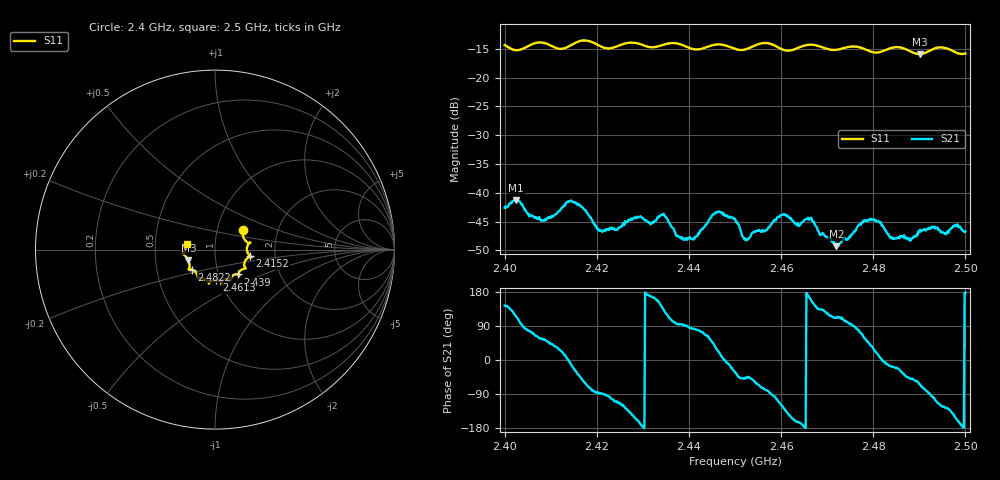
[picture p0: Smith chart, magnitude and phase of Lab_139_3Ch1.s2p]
# Hz S RI R 50
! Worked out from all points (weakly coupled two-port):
!   601 points, 2.4 GHz to 2.5 GHz, reference 50 ohm
!   highest |S21| = -41.24 dB at 2.4025 GHz (marker M1); lowest = -49.3 dB at 2.472 GHz (marker M2)
!   lowest |S11| = -15.9 dB at 2.4902 GHz (marker M3), VSWR 1.38, Z = 36.9 - j4.59 ohm
!   |S11| at or under -10 dB: start of sweep to end of sweep
!   S12 and S22 are empty: the file has one direction only
!   S11 on the Smith chart (normalised r, x): 2.4 GHz: 1.33, +0.31; 2.4152 GHz: 1.48, -0.11; 2.439 GHz: 1.24, -0.35; 2.4613 GHz: 0.96, -0.34; 2.4822 GHz: 0.76, -0.17; 2.5 GHz: 0.73, +0.05
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2.4e9  0.1561 0.1108  -0.00595 0.0044  0 0  0 0
2.4025e9  0.1582 0.0691  -0.00363 0.00788  0 0  0 0
2.408167e9  0.1973 0.0395  0.00323 0.00472  0 0  0 0
2.415167e9  0.1951 -0.0363  0.00754 -0.00352  0 0  0 0
2.416667e9  0.2046 -0.0423  0.00498 -0.00574  0 0  0 0
2.420833e9  0.1805 -0.0476  0.000177 -0.00471  0 0  0 0
2.433333e9  0.1321 -0.1319  -0.00549 0.00268  0 0  0 0
2.434833e9  0.1314 -0.1433  -0.00363 0.00504  0 0  0 0
2.439e9  0.1282 -0.1382  -5.44e-05 0.00399  0 0  0 0
2.441333e9  0.1055 -0.1403  0.000635 0.0041  0 0  0 0
2.446167e9  0.0859 -0.1737  0.00602 0.00302  0 0  0 0
2.45e9  0.0691 -0.1638  0.00506 -0.00315  0 0  0 0
2.4525e9  0.0425 -0.1714  0.00268 -0.00281  0 0  0 0
2.461333e9  0.00709 -0.1712  -0.00478 -0.00415  0 0  0 0
2.463667e9  -0.0246 -0.1794  -0.00522 -0.00148  0 0  0 0
2.466667e9  -0.034 -0.1898  -0.00533 0.00259  0 0  0 0
2.472e9  -0.0658 -0.1612  -0.0013 0.00318  0 0  0 0
2.478167e9  -0.0975 -0.1471  0.00312 0.00486  0 0  0 0
2.482167e9  -0.1282 -0.1115  0.0051 -0.000325  0 0  0 0
2.483333e9  -0.1395 -0.1099  0.00422 -0.00106  0 0  0 0
2.490167e9  -0.1478 -0.0607  0.00202 -0.00433  0 0  0 0
2.5e9  -0.158 0.0333  -0.00459 0.000195  0 0  0 0
